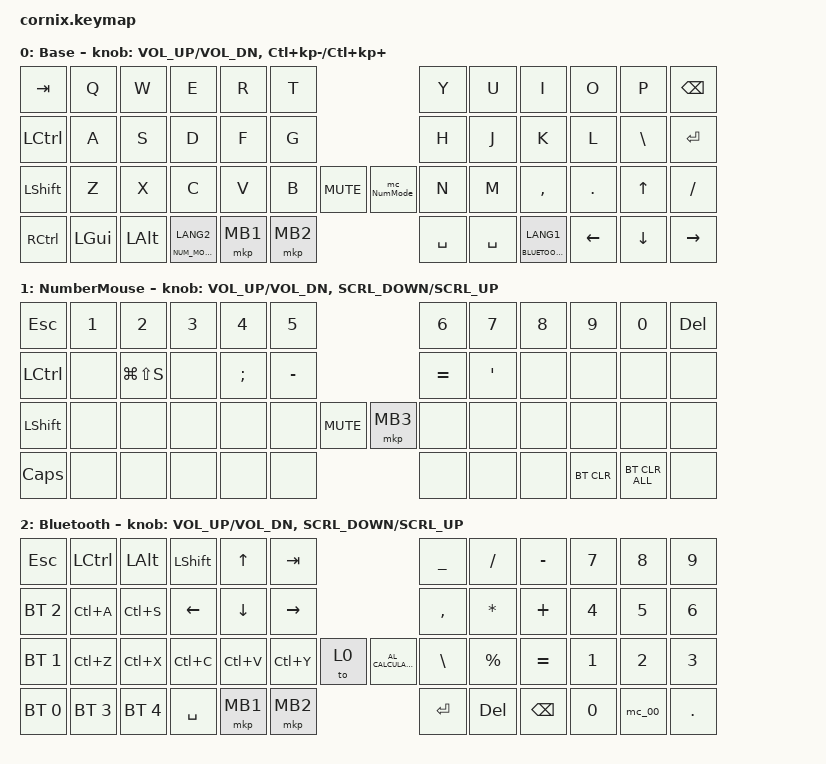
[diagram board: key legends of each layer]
/*
 * Cornix LP keymap converted from:
 *   20260726_ CronixKeymap(1).vil
 * Target repository/branch:
 *   Ehtge95s/zmk-keyboard-cornix / cornix-v2.7.1
 *
 * Layer 0: Base
 * Layer 1: Numbers / mouse
 * Layer 2: Bluetooth
 */

#include <behaviors.dtsi>
#include <dt-bindings/zmk/bt.h>
#include <dt-bindings/zmk/keys.h>
#include <dt-bindings/zmk/pointing.h>

#define BASE 0
#define NUM_MOUSE 1
#define BLUETOOTH 2

/ {
    behaviors {
        /*
         * Tap: LANG1/LANG2
         * Hold: momentarily activate the selected layer
         * Matches the original Vial LT1/LT2 usage.
         */

        lt: layer_tap {
            compatible = "zmk,behavior-hold-tap";
            #binding-cells = <2>;
            bindings = <&mo>, <&kp>;

            flavor = "hold-preferred";
            tapping-term-ms = <250>;
            quick-tap-ms = <200>;
        };

        /*
         * Rotary encoder mouse scrolling.
         * First parameter = clockwise, second = counter-clockwise.
         */

        rot_msc: sensor_rotate_mouse_scroll {
            compatible = "zmk,behavior-sensor-rotate-var";
            #sensor-binding-cells = <2>;
            bindings = <&msc>, <&msc>;
        };
    };

    macros {
        mc_00: mc_00 {
            compatible = "zmk,behavior-macro";
            #binding-cells = <0>;
            bindings = <&kp N0 &kp N0>;
            label = "MC_00";
        };

        mc_NumMode: mc_NumMode {
            compatible = "zmk,behavior-macro";
            #binding-cells = <0>;
            bindings = <&to 2 &kp LANG2>;
            label = "MC_NUMMODE";
        };
    };

    keymap {
        compatible = "zmk,keymap";

        default_layer {
            display-name = "Base";
            bindings = <
&kp TAB     &kp Q     &kp W     &kp E                &kp R     &kp T                              &kp Y      &kp U      &kp I                &kp O     &kp P     &kp BSPC
&kp LCTRL   &kp A     &kp S     &kp D                &kp F     &kp G                              &kp H      &kp J      &kp K                &kp L     &kp BSLH  &kp ENTER
&kp LSHIFT  &kp Z     &kp X     &kp C                &kp V     &kp B     &kp C_MUTE  &mc_NumMode  &kp N      &kp M      &kp COMMA            &kp DOT   &kp UP    &kp FSLH
&kp RCTRL   &kp LGUI  &kp LALT  &lt NUM_MOUSE LANG2  &mkp MB1  &mkp MB2                           &kp SPACE  &kp SPACE  &lt BLUETOOTH LANG1  &kp LEFT  &kp DOWN  &kp RIGHT
            >;

            /*
             * Left encoder:  CW Volume Up / CCW Volume Down
             * Right encoder: CW Ctrl+KP- / CCW Ctrl+KP+
             * (preserves the order stored in the Vial file)
             */

            sensor-bindings = <
                &inc_dec_kp C_VOL_UP C_VOL_DN
                &inc_dec_kp LC(KP_MINUS) LC(KP_PLUS)
            >;
        };

        number_mouse_layer {
            display-name = "NumberMouse";
            bindings = <
&kp ESC           &kp N1  &kp N2         &kp N3  &kp N4    &kp N5                           &kp N6     &kp N7   &kp N8  &kp N9      &kp N0          &kp DEL
&kp LEFT_CONTROL  &none   &kp LG(LS(S))  &none   &kp SEMI  &kp MINUS                        &kp EQUAL  &kp SQT  &none   &none       &none           &none
&kp LSHIFT        &none   &none          &none   &none     &none      &kp C_MUTE  &mkp MB3  &none      &none    &none   &none       &none           &none
&kp CAPSLOCK      &none   &none          &none   &none     &none                            &none      &none    &none   &bt BT_CLR  &bt BT_CLR_ALL  &none
            >;

            /* Left: volume. Right: mouse wheel down/up. */

            sensor-bindings = <
                &inc_dec_kp C_VOL_UP C_VOL_DN
                &rot_msc SCRL_DOWN SCRL_UP
            >;
        };

        bluetooth_layer {
            display-name = "Bluetooth";
            bindings = <
&kp ESC       &kp LEFT_CONTROL  &kp LEFT_ALT  &kp LSHIFT  &kp UP     &kp TAB                                &kp UNDER      &kp SLASH     &kp MINUS      &kp N7  &kp N8  &kp N9
&bt BT_SEL 2  &kp LC(A)         &kp LC(S)     &kp LEFT    &kp DOWN   &kp RIGHT                              &kp COMMA      &kp ASTERISK  &kp PLUS       &kp N4  &kp N5  &kp N6
&bt BT_SEL 1  &kp LC(Z)         &kp LC(X)     &kp LC(C)   &kp LC(V)  &kp LC(Y)  &to 0  &kp C_AL_CALCULATOR  &kp BACKSLASH  &kp PERCENT   &kp EQUAL      &kp N1  &kp N2  &kp N3
&bt BT_SEL 0  &bt BT_SEL 3      &bt BT_SEL 4  &kp SPACE   &mkp MB1   &mkp MB2                               &kp ENTER      &kp DELETE    &kp BACKSPACE  &kp N0  &mc_00  &kp DOT
            >;

            /* Left: volume. Right: mouse wheel down/up. */

            sensor-bindings = <
                &inc_dec_kp C_VOL_UP C_VOL_DN
                &rot_msc SCRL_DOWN SCRL_UP
            >;
        };
    };
};
